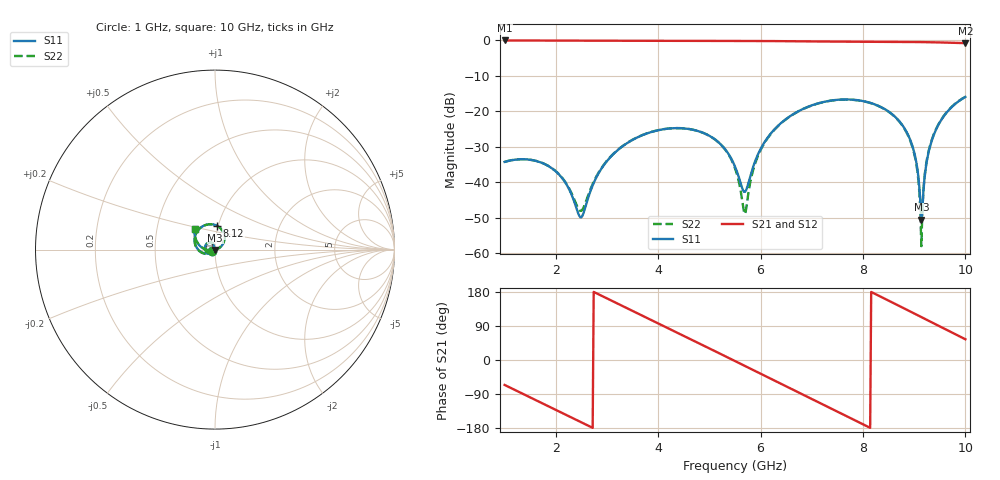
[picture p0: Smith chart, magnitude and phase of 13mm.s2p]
! Touchstone file exported from HFSS 2018.2.0
!  File:  C:/Users/10024/OneDrive - The University of Nottingham Ningbo China/Year 4/Final Year Project/HFSS project/Passive_Resonator_Antenna.aedt
!  Generated:  11:26:43 上午  3月 12, 2022
!  Design:  SMA_Thru
!  Project:  Passive_Resonator_Antenna
!  Setup:  Setup1
!  Solution:  Sweep
! Variables:
!  MW = 1.992mm
!  ThruL = 13mm
!  g = 0.2mm
!  subH = 0.8mm
!  subX = 20mm
!  subY = 23mm
!  tapW = 1.992mm
# GHZ S MA R 50.000000
! Modal data exported
! Port[1] = SMA_CONNECTOR1_1:1
! Port[2] = SMA_CONNECTOR2_1:1
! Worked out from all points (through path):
!   451 points, 1 GHz to 10 GHz, reference 50 ohm
!   highest |S21| = -0.02 dB at 1 GHz (marker M1); lowest = -0.8 dB at 10 GHz (marker M2)
!   group delay of S21, straight-line fit = 185 ps
!   lowest |S11| = -50.5 dB at 9.14 GHz (marker M3), VSWR 1.01, Z = 50.2 - j0.255 ohm
!   |S11| at or under -10 dB: start of sweep to end of sweep
!   |S22| runs from -58.0 to -15.9 dB; largest |S21 - S12| = 3.4e-14
!   S11 on the Smith chart (normalised r, x): 1 GHz: 0.97, -0.02; 8.12 GHz: 0.99, +0.27; 10 GHz: 0.78, +0.18
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1  0.01938 -156.0  0.9982 -65.8  0.9982 -65.8  0.01939 -154.0
! Gamma ! 0.0151858380091375 30.3716836111821 0.0151858380091452 30.3716836111698
! Port Impedance50 0 50 0
1.46  0.02095 175.9  0.9968 -96.1  0.9968 -96.1  0.02098 177.5
1.92  0.01583 150.2  0.9952 -126.3  0.9952 -126.3  0.0159 152.2
2.5  0.003221 -161.6  0.9929 -164.5  0.9929 -164.5  0.00398 -162.3
3.04  0.02159 -121.2  0.9904 159.9  0.9904 159.9  0.02184 -124.4
4  0.05419 -177.1  0.9857 96.6  0.9857 96.6  0.05437 -179.7
4.46  0.05778 154.5  0.9841 66.3  0.9841 66.3  0.05791 151.5
4.96  0.04683 124.7  0.9833 33.2  0.9833 33.2  0.04682 120.3
5.5  0.01668 106.8  0.9824 -2.7  0.9824 -2.7  0.01577 93.7
5.7  0.007395 166.5  0.9818 -16.1  0.9818 -16.1  0.003599 169.8
5.88  0.01871 -147.0  0.9809 -28.1  0.9809 -28.1  0.01724 -136.0
6.1  0.03903 -149.3  0.9793 -42.8  0.9793 -42.8  0.03817 -144.1
7  0.1215 158.4  0.9677 -103.0  0.9677 -103.0  0.121 159.7
7.6  0.147 119.2  0.9597 -143.0  0.9597 -143.0  0.1464 119.9
8.12  0.1332 84.7  0.9561 -177.7  0.9561 -177.7  0.1325 85.3
8.5  0.09953 59.0  0.9545 156.7  0.9545 156.7  0.09872 59.8
8.94  0.0367 26.1  0.9504 126.8  0.9504 126.8  0.0357 28.5
9.04  0.01936 15.1  0.9487 120.0  0.9487 120.0  0.01825 19.5
9.14  0.00298 -58.5  0.9466 113.2  0.9466 113.2  0.00126 -82.8
9.24  0.01859 -161.7  0.9442 106.3  0.9442 106.3  0.0194 -167.1
9.38  0.04609 -177.2  0.9402 96.8  0.9402 96.8  0.04704 -179.4
10  0.1596 135.3  0.9154 54.7  0.9154 54.7  0.1604 134.5
